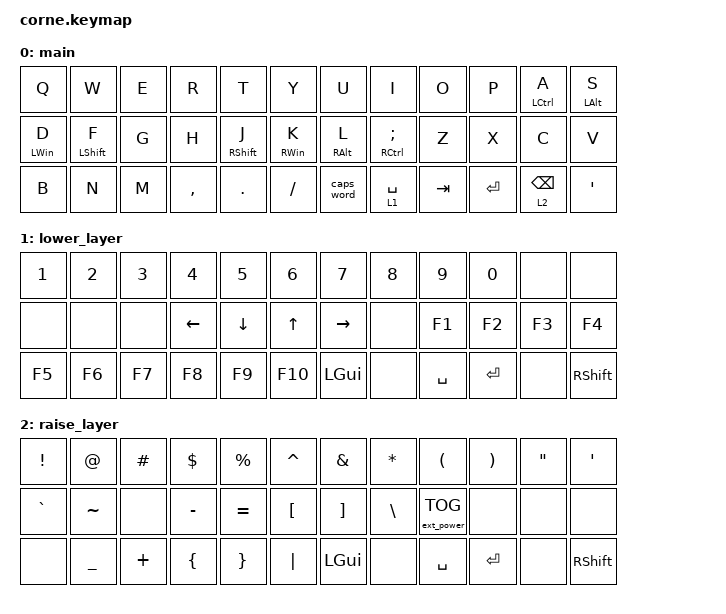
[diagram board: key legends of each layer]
/*
 * Copyright (c) 2020 The ZMK Contributors
 *
 * SPDX-License-Identifier: MIT
 */

/ {
    chosen { zmk,matrix-transform = &five_column_transform; };
};

#include "keys/36.h"
#include <behaviors.dtsi>
#include <dt-bindings/zmk/ext_power.h>
#include <dt-bindings/zmk/keys.h>

/ {
    behaviors {
        hml: hml {
            compatible = "zmk,behavior-hold-tap";
            label = "HML";
            bindings = <&kp>, <&kp>;

            #binding-cells = <2>;
            tapping-term-ms = <280>;
            quick-tap-ms = <175>;
            flavor = "balanced";
            hold-while-undecided;
            hold-trigger-on-release;
            hold-trigger-key-positions = <RIGHT_KEYS THUMB_KEYS>;
        };

        hmr: hmr {
            compatible = "zmk,behavior-hold-tap";
            label = "HMR";
            bindings = <&kp>, <&kp>;

            #binding-cells = <2>;
            tapping-term-ms = <280>;
            quick-tap-ms = <175>;
            flavor = "balanced";
            hold-while-undecided;
            hold-trigger-on-release;
            hold-trigger-key-positions = <LEFT_KEYS THUMB_KEYS>;
        };
    };

    combos {
        compatible = "zmk,combos";

        LP {
            bindings = <&kp LEFT_PARENTHESIS>;
            key-positions = <13 12>;
        };

        RP {
            bindings = <&kp RIGHT_PARENTHESIS>;
            key-positions = <16 17>;
        };

        LB {
            bindings = <&kp LEFT_BRACKET>;
            key-positions = <12 11>;
        };

        RB {
            bindings = <&kp RBKT>;
            key-positions = <17 18>;
        };

        esc {
            bindings = <&kp ESC>;
            key-positions = <11 12 13>;
        };

        bspc {
            bindings = <&kp BACKSPACE>;
            key-positions = <16 17 18>;
        };

        LCB {
            bindings = <&kp LEFT_BRACE>;
            key-positions = <10 11>;
        };

        RCB {
            bindings = <&kp RIGHT_BRACE>;
            key-positions = <18 19>;
        };
    };

    keymap {
        compatible = "zmk,keymap";

        main {
            // -----------------------------------------------------------------------------------------
            // |  Q  |  W  |  E  |  R  |  T  |   |  Y  |  U   |  I  |  O  |  P  |
            // |  A  |  S  |  D  |  F  |  G  |   |  H  |  J   |  K  |  L  |  ;  |
            // |  Z  |  X  |  C  |  V  |  B  |   |  N  |  M   |  ,  |  .  |  /  |
            //                    | GUI | LWR | SPC |   | ENT | RSE  | ALT |

            bindings = <
&kp Q            &kp W              &kp E  &kp R      &kp T               &kp Y               &kp U             &kp I            &kp O    &kp P      &hml LCTRL A     &hml LEFT_ALT S
&hml LEFT_WIN D  &hml LEFT_SHIFT F  &kp G  &kp H      &hmr RIGHT_SHIFT J  &hmr RIGHT_WIN K    &hmr RIGHT_ALT L  &hmr RCTRL SEMI  &kp Z    &kp X      &kp C            &kp V
&kp B            &kp N              &kp M  &kp COMMA  &kp DOT             &kp FSLH            &caps_word        &lt 1 SPACE      &kp TAB  &kp ENTER  &lt 2 BACKSPACE  &kp SQT
            >;
        };

        lower_layer {
            // -----------------------------------------------------------------------------------------
            // |  1  |  2  |  3  |  4  |  5  |   |  6  |  7  |  8  |  9  |  0  |
            // | BT1 | BT2 | BT3 | BT4 | BT5 |   | LFT | DWN |  UP | RGT |     |
            // |     |     |     |     |     |   |     |     |     |     |     |
            //                    | GUI |     | SPC |   | ENT |     | ALT |

            bindings = <
&kp N1  &kp N2  &kp N3  &kp N4    &kp N5    &kp N6     &kp N7     &kp N8  &kp N9     &kp N0   &none   &none
&none   &none   &none   &kp LEFT  &kp DOWN  &kp UP     &kp RIGHT  &none   &kp F1     &kp F2   &kp F3  &kp F4
&kp F5  &kp F6  &kp F7  &kp F8    &kp F9    &kp F10    &kp LGUI   &none   &kp SPACE  &kp RET  &none   &kp RIGHT_SHIFT
            >;
        };

        raise_layer {
            // -----------------------------------------------------------------------------------------
            // |  !  |  @  |  #  |  $  |  %  |   |  ^  |  &  |  *  |  (  |  )  |
            // |     |     |     |     |     |   |  -  |  =  |  [  |  ]  |  \  |
            // |     |     |     |     |     |   |  _  |  +  |  {  |  }  | "|" |
            //                    | GUI |     | SPC |   | ENT |     | ALT |

            bindings = <
&kp EXCL   &kp AT     &kp HASH  &kp DLLR   &kp PRCNT  &kp CARET    &kp AMPS  &kp ASTRK  &kp LPAR           &kp RPAR  &kp DOUBLE_QUOTES  &kp SQT
&kp GRAVE  &kp TILDE  &none     &kp MINUS  &kp EQUAL  &kp LBKT     &kp RBKT  &kp BSLH   &ext_power EP_TOG  &none     &none              &none
&none      &kp UNDER  &kp PLUS  &kp LBRC   &kp RBRC   &kp PIPE     &kp LGUI  &none      &kp SPACE          &kp RET   &none              &kp RIGHT_SHIFT
            >;
        };
    };
};
